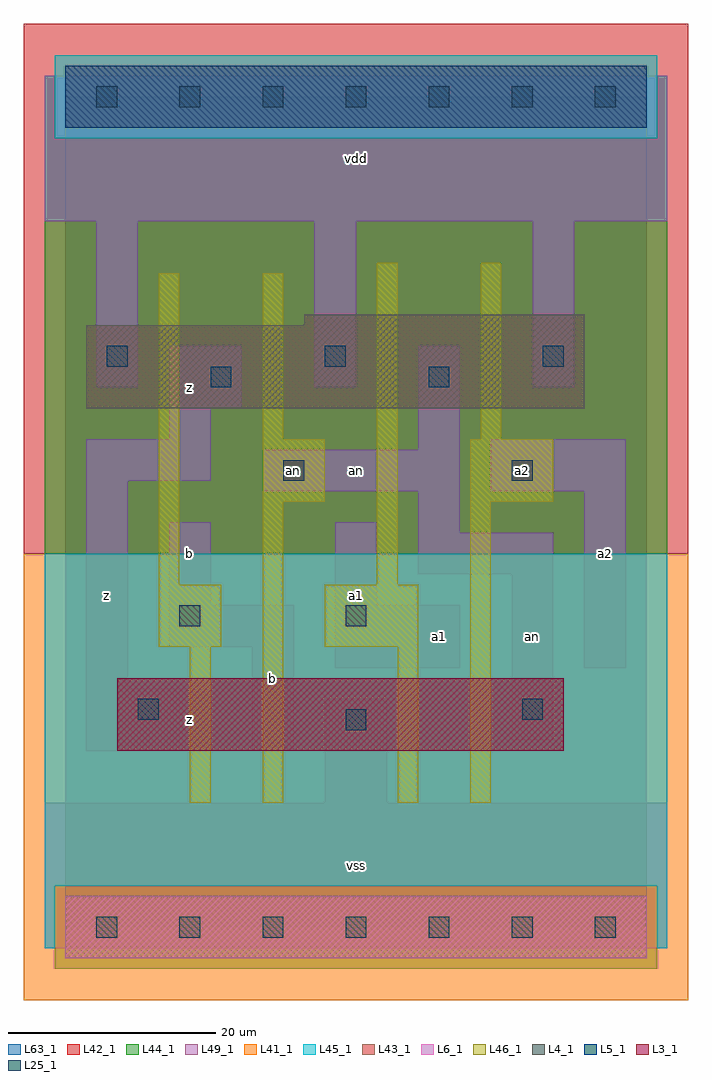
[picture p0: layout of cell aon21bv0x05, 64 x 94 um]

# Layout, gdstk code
import gdstk
lib = gdstk.Library(unit=1e-6, precision=1e-09)
def R(c, l, rs):  # rectangles x0, y0, x1, y1
    for r in rs: c.add(gdstk.rectangle(r[:2], r[2:], *l))
def A(c, l, x, y, w, h, nx, ny, dx, dy):  # array of equal rectangles
    R(c, l, [(x+i*dx, y+j*dy, x+i*dx+w, y+j*dy+h) for i in range(nx) for j in range(ny)])
L3_1 = (3, 1)
L4_1 = (4, 1)
L5_1 = (5, 1)
L6_1 = (6, 1)
L25_1 = (25, 1)
L41_1 = (41, 1)
L42_1 = (42, 1)
L43_1 = (43, 1)
L44_1 = (44, 1)
L45_1 = (45, 1)
L46_1 = (46, 1)
L49_1 = (49, 1)
L63_1 = (63, 1)

aon21bv0x05 = lib.new_cell('aon21bv0x05')
R(aon21bv0x05, L3_1, [(5,17,48,24)])
R(aon21bv0x05, L4_1, [(2,50,50,58), (23,58,50,59)])
R(aon21bv0x05, L5_1, [(0,77,56,83)])
R(aon21bv0x05, L6_1, [(0,-3,56,3), (0,-3,56,3)])
A(aon21bv0x05, L25_1, 3, -1, 2, 2, 7, 2, 8, 80)
A(aon21bv0x05, L25_1, 4, 54, 2, 2, 3, 1, 21, 0)
R(aon21bv0x05, L25_1, [(27,19,29,21), (7,20,9,22), (44,20,46,22), (11,29,13,31), (27,29,29,31), (21,43,23,45), (43,43,45,45), (14,52,16,54), (35,52,37,54)])
R(aon21bv0x05, L41_1, [(-4,-7,60,36)])
R(aon21bv0x05, L42_1, [(-4,36,60,87)])
R(aon21bv0x05, L43_1, [(0,-3,56,3), (5,17,48,24), (2,50,50,58), (23,58,50,59), (0,77,56,83)])
R(aon21bv0x05, L44_1, [(-1,-4,57,4), (-2,36,58,76), (-2,76,-1,82), (57,76,58,82)])
R(aon21bv0x05, L45_1, [(-2,-2,-1,4), (57,-2,58,4), (-2,4,58,36), (-1,76,57,84)])
R(aon21bv0x05, L46_1, [(12,12,14,27), (19,12,21,41), (32,12,34,27), (39,12,41,41), (9,27,15,33), (25,27,34,33), (9,33,11,63), (30,33,32,64), (19,41,25,47), (39,41,47,47), (19,47,21,63), (40,47,42,64)])
A(aon21bv0x05, L49_1, 3, 52, 4, 16, 3, 1, 21, 0)
R(aon21bv0x05, L49_1, [(-2,-2,58,12), (25,12,31,22), (2,17,14,23), (18,17,22,27), (43,18,47,34), (2,23,6,43), (26,25,38,31), (50,25,54,42), (10,27,22,31), (10,31,14,39), (26,31,30,39), (34,34,47,38), (34,38,38,42), (19,42,38,46), (41,42,54,47), (2,43,14,47), (34,46,38,56), (10,47,14,50), (10,50,17,56), (-2,68,58,82)])
R(aon21bv0x05, L63_1, [(0,0,56,80)])
aon21bv0x05.add(gdstk.Label('an', (22,44), layer=49, texttype=1))
aon21bv0x05.add(gdstk.Label('z', (4,32), layer=49, texttype=1))
aon21bv0x05.add(gdstk.Label('z', (12,20), layer=49, texttype=1))
aon21bv0x05.add(gdstk.Label('b', (12,36), layer=49, texttype=1))
aon21bv0x05.add(gdstk.Label('b', (20,24), layer=49, texttype=1))
aon21bv0x05.add(gdstk.Label('z', (12,52), layer=49, texttype=1))
aon21bv0x05.add(gdstk.Label('vss', (28,6), layer=49, texttype=1))
aon21bv0x05.add(gdstk.Label('a1', (28,32), layer=49, texttype=1))
aon21bv0x05.add(gdstk.Label('a1', (36,28), layer=49, texttype=1))
aon21bv0x05.add(gdstk.Label('an', (28,44), layer=49, texttype=1))
aon21bv0x05.add(gdstk.Label('vdd', (28,74), layer=49, texttype=1))
aon21bv0x05.add(gdstk.Label('an', (45,28), layer=49, texttype=1))
aon21bv0x05.add(gdstk.Label('a2', (52,36), layer=49, texttype=1))
aon21bv0x05.add(gdstk.Label('a2', (44,44), layer=49, texttype=1))

lib.write_gds('aon21bv0x05.gds')
